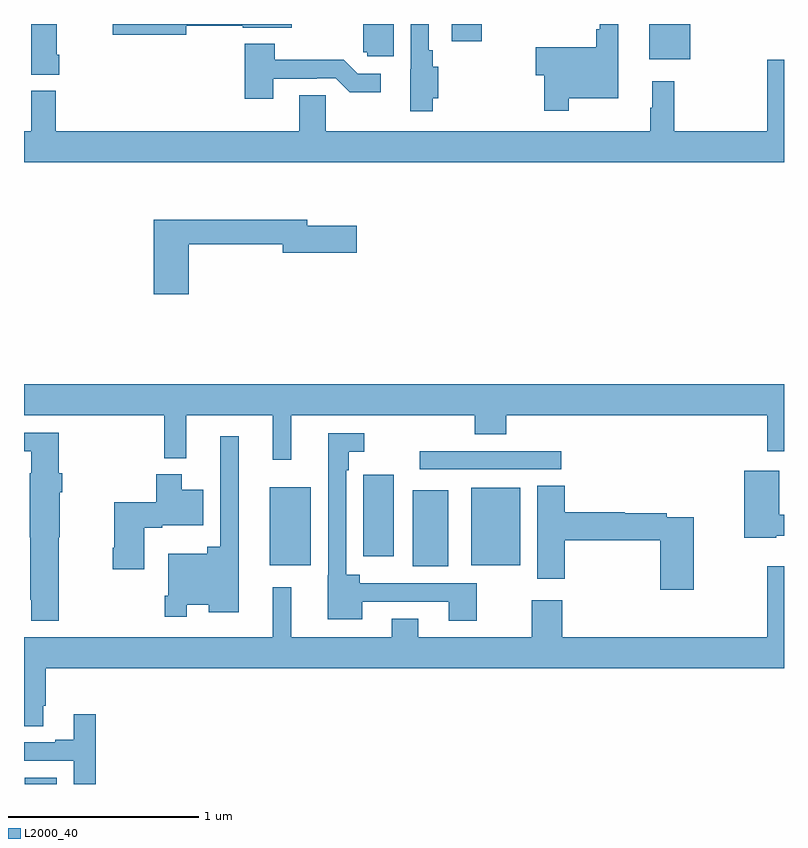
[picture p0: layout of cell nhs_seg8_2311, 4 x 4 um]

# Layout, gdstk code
import gdstk
lib = gdstk.Library(unit=1e-6, precision=1e-09)
def R(c, l, rs):  # rectangles x0, y0, x1, y1
    for r in rs: c.add(gdstk.rectangle(r[:2], r[2:], *l))
def P(c, l, *ps):  # polygons
    for p in ps: c.add(gdstk.Polygon(p, *l))
L2000_40 = (2000, 40)

nhs_seg8_2311 = lib.new_cell('nhs_seg8_2311')
R(nhs_seg8_2311, L2000_40, [(257.003,1107.9,257.173,1107.934), (259.046,1109.045,259.234,1109.446), (258.293,1109.051,258.508,1109.461), (259.355,1109.051,259.612,1109.458), (258.785,1109.1,258.946,1109.527), (259.083,1109.556,259.828,1109.652), (260.291,1111.715,260.506,1111.9), (259.25,1111.809,259.408,1111.9)])
P(nhs_seg8_2311, L2000_40, [(257.854,1111.891),(258.152,1111.891),(258.152,1111.88),(258.41,1111.88),(258.41,1111.9),(257.466,1111.9),(257.466,1111.844),(257.854,1111.844)],
  [(257.186,1111.738),(257.173,1111.738),(257.173,1111.9),(257.039,1111.9),(257.039,1111.633),(257.186,1111.633)],
  [(258.946,1111.9),(258.785,1111.9),(258.785,1111.752),(258.807,1111.752),(258.807,1111.731),(258.946,1111.731)],
  [(259.867,1111.508),(260.128,1111.508),(260.128,1111.9),(260.031,1111.9),(260.031,1111.873),(260.011,1111.873),(260.011,1111.777),(259.694,1111.777),(259.694,1111.63),(259.738,1111.63),(259.738,1111.443),(259.867,1111.443)],
  [(259.151,1111.508),(259.181,1111.508),(259.181,1111.674),(259.151,1111.674),(259.151,1111.762),(259.131,1111.762),(259.131,1111.9),(259.035,1111.9),(259.035,1111.662),(259.034,1111.662),(259.034,1111.44),(259.151,1111.44)],
  [(258.313,1111.611),(258.542,1111.611),(258.542,1111.614),(258.642,1111.614),(258.715,1111.541),(258.877,1111.541),(258.877,1111.638),(258.756,1111.638),(258.683,1111.711),(258.321,1111.711),(258.321,1111.795),(258.161,1111.795),(258.161,1111.506),(258.313,1111.506)],
  [(261,1111.711),(260.912,1111.711),(260.912,1111.336),(260.423,1111.336),(260.423,1111.6),(260.306,1111.6),(260.306,1111.46),(260.295,1111.46),(260.295,1111.336),(258.588,1111.336),(258.588,1111.526),(258.449,1111.526),(258.449,1111.336),(257.168,1111.336),(257.168,1111.548),(257.039,1111.548),(257.039,1111.336),(257,1111.336),(257,1111.172),(261,1111.172)],
  [(257.867,1110.742),(258.362,1110.742),(258.362,1110.695),(258.751,1110.695),(258.751,1110.837),(258.49,1110.837),(258.49,1110.871),(257.684,1110.871),(257.684,1110.477),(257.867,1110.477)],
  [(258.407,1109.84),(259.373,1109.84),(259.373,1109.741),(259.538,1109.741),(259.538,1109.84),(260.912,1109.84),(260.912,1109.652),(261,1109.652),(261,1110.004),(257,1110.004),(257,1109.84),(257.737,1109.84),(257.737,1109.615),(257.855,1109.615),(257.855,1109.84),(258.308,1109.84),(258.308,1109.607),(258.407,1109.607)],
  [(257.183,1109.199),(257.188,1109.199),(257.188,1109.435),(257.201,1109.435),(257.201,1109.535),(257.183,1109.535),(257.183,1109.748),(257,1109.748),(257,1109.652),(257.039,1109.652),(257.039,1109.535),(257.03,1109.535),(257.03,1109.199),(257.032,1109.199),(257.032,1108.87),(257.039,1108.87),(257.039,1108.758),(257.183,1108.758)],
  [(259.383,1108.956),(258.766,1108.956),(258.766,1109.002),(258.696,1109.002),(258.696,1109.552),(258.708,1109.552),(258.708,1109.649),(258.79,1109.649),(258.79,1109.745),(258.6,1109.745),(258.6,1108.998),(258.599,1108.998),(258.599,1108.766),(258.781,1108.766),(258.781,1108.86),(259.235,1108.86),(259.235,1108.758),(259.383,1108.758)],
  [(257.856,1108.844),(257.972,1108.844),(257.972,1108.805),(258.13,1108.805),(258.13,1109.731),(258.033,1109.731),(258.033,1109.149),(257.965,1109.149),(257.965,1109.113),(257.76,1109.113),(257.76,1108.891),(257.74,1108.891),(257.74,1108.779),(257.856,1108.779)],
  [(260.958,1109.207),(261,1109.207),(261,1109.317),(260.975,1109.317),(260.975,1109.548),(260.791,1109.548),(260.791,1109.195),(260.958,1109.195)],
  [(257.632,1109.249),(257.728,1109.249),(257.728,1109.261),(257.944,1109.261),(257.944,1109.449),(257.83,1109.449),(257.83,1109.53),(257.696,1109.53),(257.696,1109.383),(257.474,1109.383),(257.474,1109.143),(257.467,1109.143),(257.467,1109.031),(257.632,1109.031)],
  [(260.526,1109.304),(260.384,1109.304),(260.384,1109.324),(260.163,1109.324),(260.163,1109.33),(259.847,1109.33),(259.847,1109.471),(259.7,1109.471),(259.7,1108.98),(259.847,1108.98),(259.847,1109.183),(260.348,1109.183),(260.348,1108.923),(260.526,1108.923)],
  [(257.101,1108.312),(257.114,1108.312),(257.114,1108.508),(261,1108.508),(261,1109.047),(260.912,1109.047),(260.912,1108.672),(259.832,1108.672),(259.832,1108.867),(259.672,1108.867),(259.672,1108.672),(259.075,1108.672),(259.075,1108.771),(258.935,1108.771),(258.935,1108.672),(258.407,1108.672),(258.407,1108.936),(258.308,1108.936),(258.308,1108.672),(257,1108.672),(257,1108.204),(257.101,1108.204)],
  [(257.378,1108.267),(257.261,1108.267),(257.261,1108.132),(257.165,1108.132),(257.165,1108.119),(257,1108.119),(257,1108.023),(257.262,1108.023),(257.262,1107.9),(257.378,1107.9)])

lib.write_gds('nhs_seg8_2311.gds')
